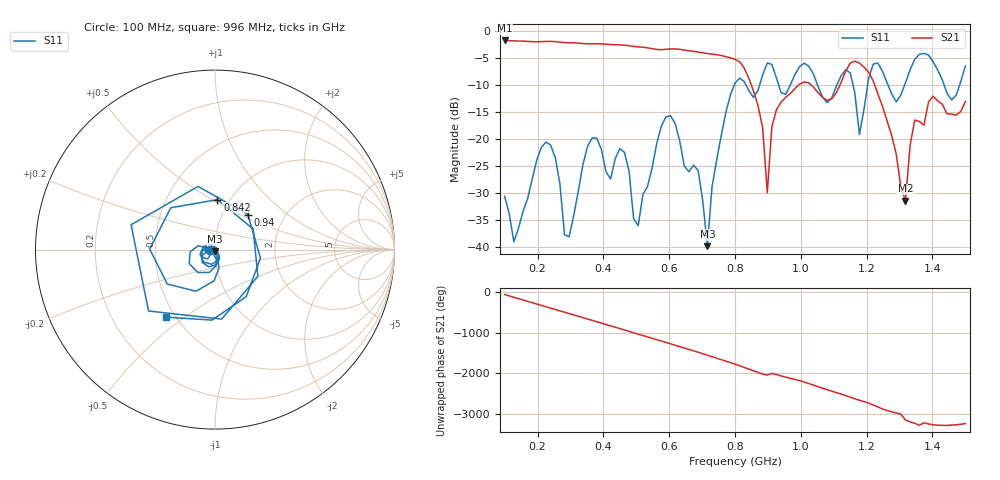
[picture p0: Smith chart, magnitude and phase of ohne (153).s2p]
! NanoVNA-App
! Date: 2025-09-25 14:21:59
! Start: 100MHz Stop: 1,5GHz Points: 101
! S-Parameter data: F S11 S21 S12 S22
# Hz S RI R 50
!  Frequency  S11_Real  S11_Imag  S21_Real  S21_Imag  S12_Real  S12_Imag  S22_Real  S22_Imag
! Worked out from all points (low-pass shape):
!   101 points, 100 MHz to 1.5 GHz, reference 50 ohm
!   highest |S21| = -1.79 dB at 100 MHz (marker M1); lowest = -31.5 dB at 1.318 GHz (marker M2)
!   |S21| within 3 dB of the highest: start of sweep to 772.6 MHz
!   lowest |S11| = -39.9 dB at 716 MHz (marker M3), VSWR 1.02, Z = 49.8 - j0.983 ohm
!   |S11| at or under -10 dB: start of sweep to 798 MHz; 833 MHz to 875 MHz (42 MHz wide, 4.92 % of centre); 1.051 GHz to 1.11 GHz (59.31 MHz wide, 5.49 % of centre) (the widest 3 of 7)
!   S12 and S22 are empty: the file has one direction only
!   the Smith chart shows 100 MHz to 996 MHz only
!   S11 on the Smith chart (normalised r, x): 100 MHz: 0.94, -0.01; 842 MHz: 0.88, +0.53; 940 MHz: 1.32, +0.55; 996 MHz: 0.44, -0.43
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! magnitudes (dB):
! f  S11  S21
! 100 MHz  -30.6  -1.8
! 128 MHz  -39.1  -1.9
! 226 MHz  -20.6  -2.0
! 296 MHz  -38.2  -2.2
! 338 MHz  -24.8  -2.4
! 464 MHz  -22.5  -2.7
! 506 MHz  -36.1  -3.0
! 576 MHz  -17.7  -3.5
! 688 MHz  -25.9  -3.9
! 716 MHz  -39.9  -4.2
! 800 MHz  -9.7  -5.3
! 842 MHz  -11.1  -8.8
! 898 MHz  -5.9  -30.0
! 940 MHz  -11.4  -13.2
! 996 MHz  -6.7  -9.9
! 1.038 GHz  -8.0  -10.4
! 1.178 GHz  -19.2  -6.0
! 1.22 GHz  -6.2  -9.3
! 1.276 GHz  -11.7  -19.4
! 1.318 GHz  -9.6  -31.5
! 1.346 GHz  -5.3  -16.5
! 1.5 GHz  -6.5  -13.1
